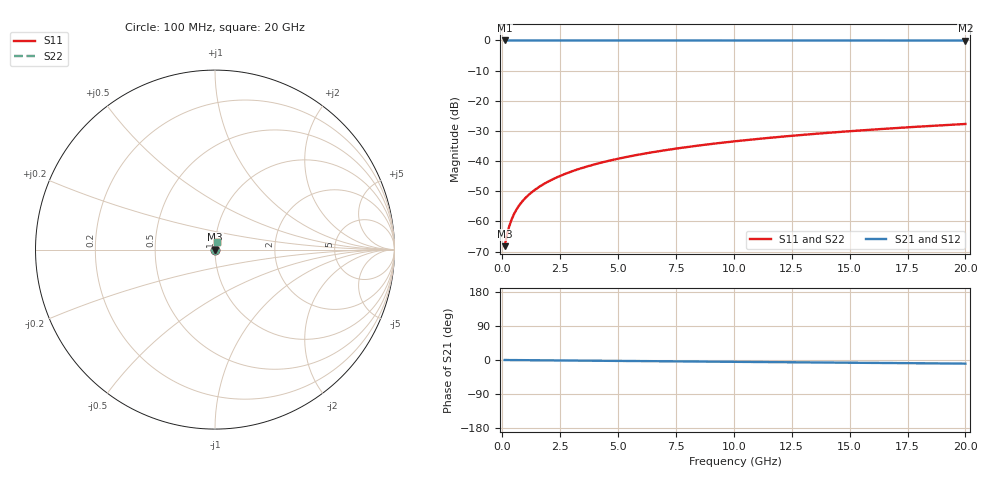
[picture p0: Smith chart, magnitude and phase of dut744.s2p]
! Touchstone file exported from HFSS 2026.1.0
!  File:  C:/ffzhzh/LocalFiles/Ansys_Project_Files/temp_train_TSV_744_1783182890_43440.aedt
!  Generated:  12:36:22 AM Jul  5, 2026
!  Design:  TSV
!  Project:  temp_train_TSV_744_1783182890_43440
! Variables:
!  h_bsmrdl = 2um
!  h_ox = 20um
!  h_rdl = 5um
!  h_sub = 95.34um
!  h_tmrdl = 5um
!  h_tsv = 95.34um
!  h_via = 3um
!  l_bsmrdl = 300um
!  l_sub = 413.12um
!  l_tmrdl = 200um
!  m_sub = 200um
!  pitch = 37.44um
!  r_tsv = 6.56um
!  s_tmrdl = 10um
!  w_bsmrdl = 18um
!  w_sub = 500um
!  w_tmrdl = 12um
!  x_tsv_center1 = 206um
!  x_tsv_center2 = 524um
!  x_tsv_center3 = 736um
!  x_tsv_center4 = 1054um
!  x_tsv_center5 = 1266um
!  x_tsv_center6 = 1584um
# GHz S MA R 50.000000
! Terminal data exported
! Port[1] = TSV1_1_T1
! Port[2] = TSV1_1_T2
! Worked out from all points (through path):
!   200 points, 100 MHz to 20 GHz, reference 50 ohm
!   highest |S21| = 0.00 dB at 100 MHz (marker M1); lowest = 0.0 dB at 20 GHz (marker M2)
!   group delay of S21, straight-line fit = 1.32 ps
!   lowest |S11| = -68.2 dB at 100 MHz (marker M3), VSWR 1.00, Z = 50 + j0.0259 ohm
!   |S11| at or under -10 dB: start of sweep to end of sweep
!   |S22| runs from -68.2 to -27.7 dB; largest |S21 - S12| = 2.3e-15
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0.1  0.0003882 41.8  0.9997 -0.1  0.9997 -0.1  0.0003882 41.8
! Gamma 0 0 0 0
! Port Impedance 50 0 50 0
0.2  0.0005967 59.6  0.9997 -0.1  0.9997 -0.1  0.0005967 59.6
0.3  0.0008312 67.3  0.9997 -0.2  0.9997 -0.2  0.0008312 67.3
0.4  0.001071 71.2  0.9997 -0.2  0.9997 -0.2  0.001071 71.2
0.5  0.001309 73.5  0.9996 -0.3  0.9996 -0.3  0.001309 73.5
0.6  0.001543 75.0  0.9996 -0.3  0.9996 -0.3  0.001543 75.0
0.7  0.001774 76.0  0.9996 -0.3  0.9996 -0.3  0.001774 76.0
0.8  0.002002 76.8  0.9996 -0.4  0.9996 -0.4  0.002002 76.8
1  0.002448 77.9  0.9995 -0.5  0.9995 -0.5  0.002448 77.9
1.4  0.00332 79.4  0.9994 -0.7  0.9994 -0.7  0.00332 79.4
1.7  0.003966 80.2  0.9994 -0.8  0.9994 -0.8  0.003966 80.2
2  0.004609 80.8  0.9993 -1.0  0.9993 -1.0  0.004609 80.8
2.7  0.006103 81.6  0.9992 -1.3  0.9992 -1.3  0.006103 81.6
3.5  0.007799 82.0  0.9991 -1.7  0.9991 -1.7  0.007799 82.0
4.2  0.009272 82.2  0.999 -2.0  0.999 -2.0  0.009272 82.2
5  0.01094 82.2  0.9989 -2.4  0.9989 -2.4  0.01094 82.2
6.8  0.01466 82.0  0.9987 -3.3  0.9987 -3.3  0.01466 82.0
8.3  0.01773 81.7  0.9985 -4.0  0.9985 -4.0  0.01773 81.7
10.1  0.02139 81.3  0.9983 -4.8  0.9983 -4.8  0.02139 81.3
13.4  0.02806 80.2  0.9979 -6.4  0.9979 -6.4  0.02806 80.2
16.7  0.03467 79.0  0.9975 -8.0  0.9975 -8.0  0.03467 79.0
20  0.04121 77.6  0.9971 -9.5  0.9971 -9.5  0.04121 77.6
